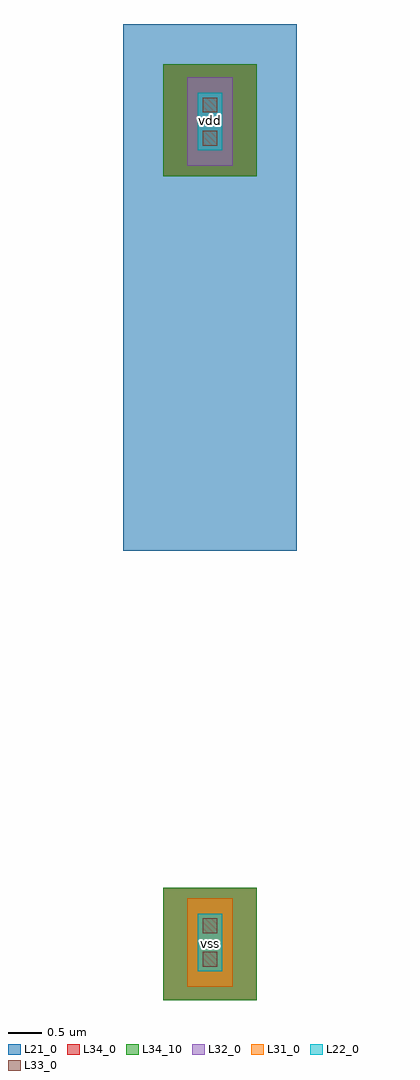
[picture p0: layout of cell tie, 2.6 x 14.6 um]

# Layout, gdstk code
import gdstk
lib = gdstk.Library(unit=1e-6, precision=1e-09)
def R(c, l, rs):  # rectangles x0, y0, x1, y1
    for r in rs: c.add(gdstk.rectangle(r[:2], r[2:], *l))
L21_0 = (21, 0)
L22_0 = (22, 0)
L31_0 = (31, 0)
L32_0 = (32, 0)
L33_0 = (33, 0)
L34_0 = (34, 0)
L34_10 = (34, 10)

tie = lib.new_cell('tie')
R(tie, L21_0, [(-0.6,6.72,2,14.6)])
R(tie, L22_0, [(0.52,0.43,0.88,1.29), (0.52,12.71,0.88,13.57)])
R(tie, L31_0, [(0.36,0.2,1.04,1.52)])
R(tie, L32_0, [(0.36,12.48,1.04,13.8)])
R(tie, L33_0, [(0.59,0.5,0.81,0.72), (0.59,1,0.81,1.22), (0.59,12.78,0.81,13), (0.59,13.28,0.81,13.5)])
R(tie, L34_0, [(0,0,1.4,1.68), (0,12.32,1.4,14)])
R(tie, L34_10, [(0,0,1.4,1.68), (0,12.32,1.4,14)])
tie.add(gdstk.Label('vdd', (0.7,13.16), layer=34, texttype=10))
tie.add(gdstk.Label('vss', (0.7,0.84), layer=34, texttype=10))

lib.write_gds('tie.gds')
